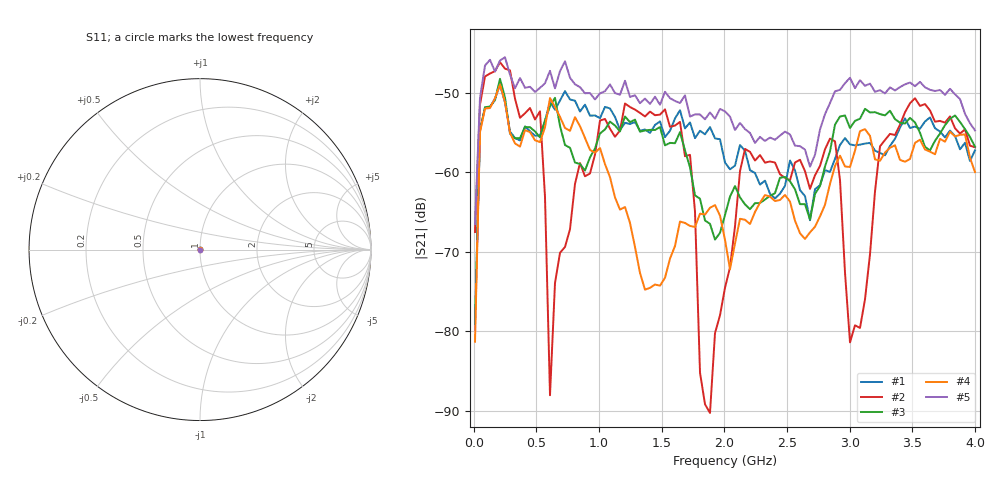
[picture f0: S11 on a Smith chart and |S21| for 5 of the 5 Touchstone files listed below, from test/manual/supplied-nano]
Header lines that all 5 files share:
! PocketVna 1.81  pocketvna.com
! Live measurements ((Reflection-S11, Transmission-S21, Transmission-S12, Reflection-S22) Linear 10000000-4000000000/101 non-calibrated)
# GHz S MA R 50
! GHz  |S11|  <S11  |S21|  <S21  |S12|  <S12  |S22|  <S22
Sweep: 10 MHz to 4 GHz
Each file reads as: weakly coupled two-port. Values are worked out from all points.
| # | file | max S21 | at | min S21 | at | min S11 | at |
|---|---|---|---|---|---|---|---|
| 1 | dut1.s2p | -49.01 dB | 209.5 MHz | -79.8 dB | 10 MHz | -83.7 dB | 1.925 GHz |
| 2 | dut2.s2p | -46.18 dB | 209.5 MHz | -90.3 dB | 1.885 GHz | -70.2 dB | 2.125 GHz |
| 3 | dut3.s2p | -48.26 dB | 209.5 MHz | -79.1 dB | 10 MHz | -78.7 dB | 1.965 GHz |
| 4 | dut4.s2p | -48.97 dB | 209.5 MHz | -81.3 dB | 10 MHz | -78.1 dB | 1.686 GHz |
| 5 | thru.s2p | -45.55 dB | 249.4 MHz | -66.5 dB | 10 MHz | -75.3 dB | 1.925 GHz |
